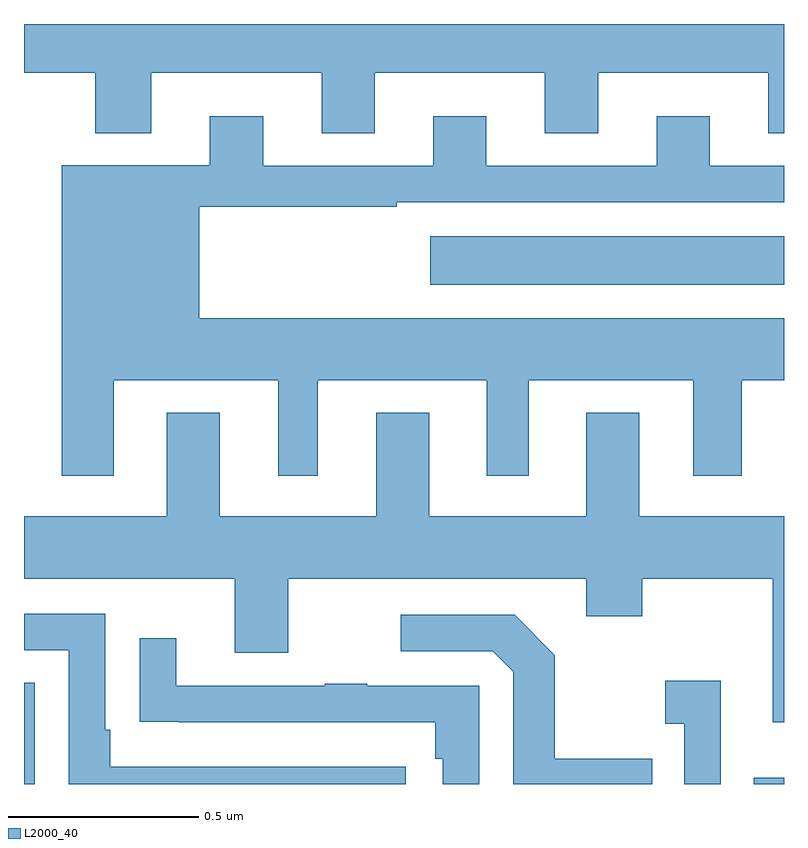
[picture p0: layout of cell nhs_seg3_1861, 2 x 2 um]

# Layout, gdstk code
import gdstk
lib = gdstk.Library(unit=1e-6, precision=1e-09)
def R(c, l, rs):  # rectangles x0, y0, x1, y1
    for r in rs: c.add(gdstk.rectangle(r[:2], r[2:], *l))
def P(c, l, *ps):  # polygons
    for p in ps: c.add(gdstk.Polygon(p, *l))
L2000_40 = (2000, 40)

nhs_seg3_1861 = lib.new_cell('nhs_seg3_1861')
R(nhs_seg3_1861, L2000_40, [(134,676.4,134.028,676.667), (135.921,676.4,136,676.417), (135.069,677.714,136,677.842)])
P(nhs_seg3_1861, L2000_40, [(134,678.272),(134.188,678.272),(134.188,678.113),(134.335,678.113),(134.335,678.272),(134.783,678.272),(134.783,678.112),(134.923,678.112),(134.923,678.272),(135.371,678.272),(135.371,678.112),(135.511,678.112),(135.511,678.272),(135.959,678.272),(135.959,678.112),(136,678.112),(136,678.4),(134,678.4)],
  [(134.236,677.462),(134.669,677.462),(134.669,677.211),(134.773,677.211),(134.773,677.462),(135.218,677.462),(135.218,677.211),(135.328,677.211),(135.328,677.462),(135.761,677.462),(135.761,677.211),(135.889,677.211),(135.889,677.462),(136,677.462),(136,677.626),(134.461,677.626),(134.461,677.919),(134.981,677.919),(134.981,677.931),(136,677.931),(136,678.027),(135.805,678.027),(135.805,678.157),(135.665,678.157),(135.665,678.027),(135.217,678.027),(135.217,678.157),(135.077,678.157),(135.077,678.027),(134.629,678.027),(134.629,678.157),(134.489,678.157),(134.489,678.028),(134.099,678.028),(134.099,677.211),(134.236,677.211)],
  [(136,677.104),(135.619,677.104),(135.619,677.377),(135.479,677.377),(135.479,677.104),(135.067,677.104),(135.067,677.377),(134.927,677.377),(134.927,677.104),(134.515,677.104),(134.515,677.377),(134.375,677.377),(134.375,677.104),(134,677.104),(134,676.94),(134.555,676.94),(134.555,676.746),(134.695,676.746),(134.695,676.94),(135.479,676.94),(135.479,676.841),(135.627,676.841),(135.627,676.94),(135.971,676.94),(135.971,676.563),(136,676.563)],
  [(135.004,676.446),(134.227,676.446),(134.227,676.543),(134.214,676.543),(134.214,676.848),(134,676.848),(134,676.752),(134.118,676.752),(134.118,676.4),(135.004,676.4)],
  [(135.653,676.467),(135.397,676.467),(135.397,676.739),(135.291,676.845),(134.991,676.845),(134.991,676.749),(135.234,676.749),(135.288,676.695),(135.288,676.4),(135.653,676.4)],
  [(135.198,676.659),(134.903,676.659),(134.903,676.664),(134.791,676.664),(134.791,676.659),(134.401,676.659),(134.401,676.783),(134.305,676.783),(134.305,676.564),(134.407,676.564),(134.407,676.563),(135.082,676.563),(135.082,676.466),(135.102,676.466),(135.102,676.4),(135.198,676.4)],
  [(135.834,676.672),(135.687,676.672),(135.687,676.559),(135.738,676.559),(135.738,676.4),(135.834,676.4)])

lib.write_gds('nhs_seg3_1861.gds')
